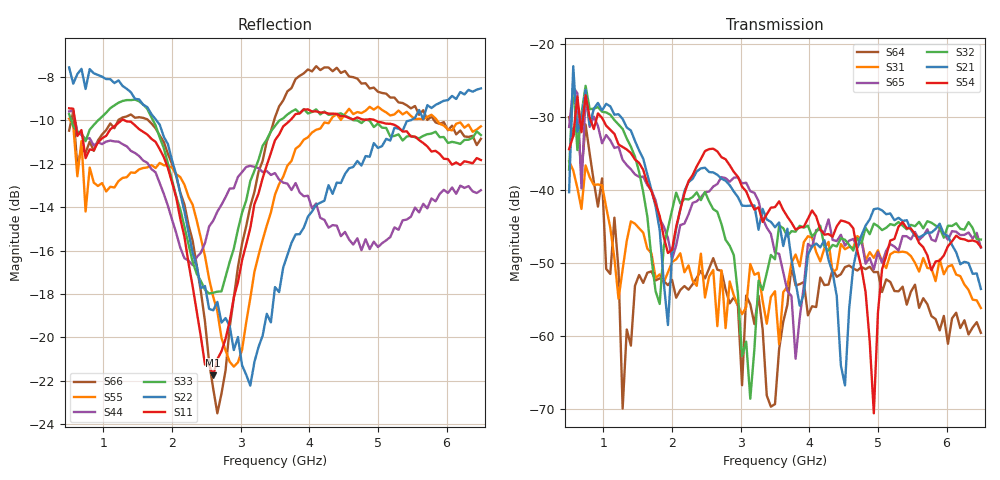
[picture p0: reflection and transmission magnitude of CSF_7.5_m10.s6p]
!Keysight Technologies,M9804A,MY58100912,A.14.10.03
!Date: Thursday, April 27, 2023 10:28:33
!Correction: S11(C  6-Port  )
!S12(C  6-Port  )
!S13(C  6-Port  )
!S14(C  6-Port  )
!S15(C  6-Port  )
!S16(C  6-Port  )
!S21(C  6-Port  )
!S22(C  6-Port  )
!S23(C  6-Port  )
!S24(C  6-Port  )
!S25(C  6-Port  )
!S26(C  6-Port  )
!S31(C  6-Port  )
!S32(C  6-Port  )
!S33(C  6-Port  )
!S34(C  6-Port  )
!S35(C  6-Port  )
!S36(C  6-Port  )
!S41(C  6-Port  )
!S42(C  6-Port  )
!S43(C  6-Port  )
!S44(C  6-Port  )
!S45(C  6-Port  )
!S46(C  6-Port  )
!S51(C  6-Port  )
!S52(C  6-Port  )
!S53(C  6-Port  )
!S54(C  6-Port  )
!S55(C  6-Port  )
!S56(C  6-Port  )
!S61(C  6-Port  )
!S62(C  6-Port  )
!S63(C  6-Port  )
!S64(C  6-Port  )
!S65(C  6-Port  )
!S66(C  6-Port  )
!S6P File: Measurement: :
# Hz S  RI  R 50
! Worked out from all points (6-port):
!   101 points, 500 MHz to 6.5 GHz, reference 50 ohm
!   strongest paths, dB at 500 MHz, 2 GHz, 3.5 GHz, 5 GHz, 6.5 GHz:
!     S54: -34.4, -48.2, -42.4, -56.8, -47.8
!     S21: -40.3, -48.8, -45.1, -42.5, -53.6
!     S32: -37.2, -42.8, -49.5, -45.0, -46.8
!     S65: -31.4, -49.5, -48.6, -48.6, -47.9
!     S31: -36.1, -49.9, -53.9, -48.3, -56.2
!     S64: -30.0, -52.4, -69.4, -51.3, -59.6
!   lowest |S11| = -21.7 dB at 2.6 GHz (marker M1), VSWR 1.18, Z = 42.7 + j1.96 ohm
!   |S11| at or under -10 dB: 585.7 MHz to 1.264 GHz (677.8 MHz wide, 73.3 % of centre); 1.309 GHz to 3.718 GHz (2.409 GHz wide, 95.8 % of centre); 4.96 GHz to end of sweep
